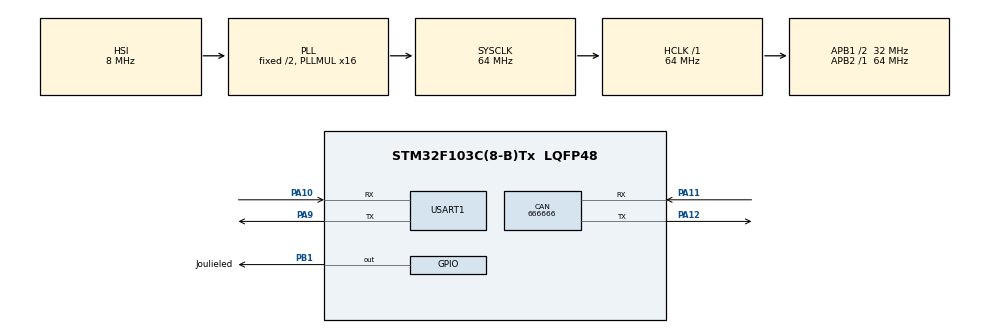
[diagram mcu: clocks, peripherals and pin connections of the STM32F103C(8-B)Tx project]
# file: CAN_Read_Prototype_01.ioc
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CAN.CalculateBaudRate=666666
CAN.CalculateTimeBit=1500
CAN.CalculateTimeQuantum=500.0
Mcu.Family=STM32F1
Mcu.Name=STM32F103C(8-B)Tx
Mcu.Package=LQFP48
NVIC.PriorityGroup=NVIC_PRIORITYGROUP_4
NVIC.USB_LP_CAN1_RX0_IRQn=true\:0\:0\:false\:false\:true\:true\:true\:true
PA10.Mode=Asynchronous
PA10.Signal=USART1_RX
PA11.Mode=CAN_Activate
PA11.Signal=CAN_RX
PA12.Mode=CAN_Activate
PA12.Signal=CAN_TX
PA13.Mode=Trace_Asynchronous_SW
PA13.Signal=SYS_JTMS-SWDIO
PA14.Mode=Trace_Asynchronous_SW
PA14.Signal=SYS_JTCK-SWCLK
PA9.Mode=Asynchronous
PA9.Signal=USART1_TX
PB1.GPIO_Label=Joulieled
PB1.Signal=GPIO_Output
PB3.Mode=Trace_Asynchronous_SW
PB3.Signal=SYS_JTDO-TRACESWO
ProjectManager.HeapSize=0x200
ProjectManager.StackSize=0x400
ProjectManager.TargetToolchain=STM32CubeIDE
RCC.AHBFreq_Value=64000000
RCC.APB1CLKDivider=RCC_HCLK_DIV2
RCC.APB1Freq_Value=32000000
RCC.APB1TimFreq_Value=64000000
RCC.APB2Freq_Value=64000000
RCC.APB2TimFreq_Value=64000000
RCC.HCLKFreq_Value=64000000
RCC.PLLMUL=RCC_PLL_MUL16
RCC.SYSCLKFreq_VALUE=64000000
RCC.SYSCLKSource=RCC_SYSCLKSOURCE_PLLCLK
RCC.USBFreq_Value=64000000
USART1.VirtualMode=VM_ASYNC
board=custom

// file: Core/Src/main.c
/* USER CODE BEGIN Header */
/**
  ******************************************************************************
  * @file           : main.c
  * @brief          : Main program body
  ******************************************************************************
  * @attention
  *
  * Copyright (c) 2022 STMicroelectronics.
  * All rights reserved.
  *
  * This software is licensed under terms that can be found in the LICENSE file
  * in the root directory of this software component.
  * If no LICENSE file comes with this software, it is provided AS-IS.
  *
  ******************************************************************************
  */
/* USER CODE END Header */
#include "main.h"

/* USER CODE BEGIN Includes */
#include <string.h>
#include "conversion_can.h"
/* USER CODE END Includes */

CAN_HandleTypeDef hcan;

UART_HandleTypeDef huart1;

void SystemClock_Config(void);
static void MX_GPIO_Init(void);
static void MX_CAN_Init(void);
static void MX_USART1_UART_Init(void);

/* USER CODE BEGIN 0 */
//recevoir le message CAN en interruption
int cc_test=1;

uint32_t tempus=0;
uint32_t tempus2=0;

tablo_typedef tab[]=
{
		{"Vx",0x0D},
		{"carbu",0x2F},
		{"dist",0x21},
		{"demar_moteur",0x1F},
		{"carbu_typ",0x51},
		{"conso",0x5E},
		{"temper_eau",0x67},
		{"temp_huil",0x5C},
		{"pos_pdle",0x5A},
		{"temper_liq",0x05}
};

CAN_RxHeaderTypeDef Rxheader;
uint8_t RxData[8];
int datacheck;

void HAL_CAN_RxFifo0MsgPendingCallback(CAN_HandleTypeDef *hcan)
{

  //Acquisition + verification
  if( HAL_CAN_GetRxMessage(hcan,CAN_RX_FIFO0, &Rxheader, RxData) != HAL_OK)
  {
	  Error_Handler();
  }

  //Si ID=103
  if (Rxheader.StdId == 0x103)
  {
	  //Levée du flag
	  datacheck = 1;
  }

  //Flag haut
  if( datacheck == 1 )
  {
	  /*
	  tempus2=HAL_GetTick();
	  while(HAL_GetTick()-tempus2<1000)
	  {
		  if( HAL_GetTick()-tempus >39)
		  {
			  HAL_GPIO_WritePin(GPIOB,GPIO_PIN_1,GPIO_PIN_SET);
			  tempus=HAL_GetTick();
		  }
		  HAL_GPIO_WritePin(GPIOB,GPIO_PIN_1,GPIO_PIN_RESET);
	  }
	  //le but ici est de garder la led allumée à un temps inférieur au rafraîchissement humain,
	  //alors on ne percevra pas le clignottement
	*/

	//Allumage LED témoin
	for (int i=0; i<2000; i++) {
		HAL_GPIO_WritePin(GPIOB, GPIO_PIN_1, GPIO_PIN_SET);
	}

	//Reset
	HAL_GPIO_WritePin(GPIOB, GPIO_PIN_1, GPIO_PIN_RESET);
	datacheck=0;

  }

}
/* USER CODE END 0 */

int main(void)
{
  /* USER CODE BEGIN 1 */
	//on vérifie que le can s'active correctement, sinon , retour d'erreur
	if ( HAL_CAN_ActivateNotification(&hcan,CAN_IT_RX_FIFO0_MSG_PENDING) != HAL_OK)
	{
		Error_Handler();
	}
  /* USER CODE END 1 */

  /* MCU Configuration--------------------------------------------------------*/

  /* Reset of all peripherals, Initializes the Flash interface and the Systick. */
  HAL_Init();

  /* Configure the system clock */
  SystemClock_Config();

  /* Initialize all configured peripherals */
  MX_GPIO_Init();
  MX_CAN_Init();
  MX_USART1_UART_Init();

  /* Infinite loop */
  while (1)
  {

  }
}

void SystemClock_Config(void)
{
  RCC_OscInitTypeDef RCC_OscInitStruct = {0};
  RCC_ClkInitTypeDef RCC_ClkInitStruct = {0};

  /** Initializes the RCC Oscillators according to the specified parameters
  * in the RCC_OscInitTypeDef structure.
  */
  RCC_OscInitStruct.OscillatorType = RCC_OSCILLATORTYPE_HSI;
  RCC_OscInitStruct.HSIState = RCC_HSI_ON;
  RCC_OscInitStruct.HSICalibrationValue = RCC_HSICALIBRATION_DEFAULT;
  RCC_OscInitStruct.PLL.PLLState = RCC_PLL_ON;
  RCC_OscInitStruct.PLL.PLLSource = RCC_PLLSOURCE_HSI_DIV2;
  RCC_OscInitStruct.PLL.PLLMUL = RCC_PLL_MUL16;
  if (HAL_RCC_OscConfig(&RCC_OscInitStruct) != HAL_OK)
  {
    Error_Handler();
  }

  /** Initializes the CPU, AHB and APB buses clocks
  */
  RCC_ClkInitStruct.ClockType = RCC_CLOCKTYPE_HCLK|RCC_CLOCKTYPE_SYSCLK
                              |RCC_CLOCKTYPE_PCLK1|RCC_CLOCKTYPE_PCLK2;
  RCC_ClkInitStruct.SYSCLKSource = RCC_SYSCLKSOURCE_PLLCLK;
  RCC_ClkInitStruct.AHBCLKDivider = RCC_SYSCLK_DIV1;
  RCC_ClkInitStruct.APB1CLKDivider = RCC_HCLK_DIV2;
  RCC_ClkInitStruct.APB2CLKDivider = RCC_HCLK_DIV1;

  if (HAL_RCC_ClockConfig(&RCC_ClkInitStruct, FLASH_LATENCY_2) != HAL_OK)
  {
    Error_Handler();
  }
}

static void MX_CAN_Init(void)
{

  hcan.Instance = CAN1;
  hcan.Init.Prescaler = 16;
  hcan.Init.Mode = CAN_MODE_NORMAL;
  hcan.Init.SyncJumpWidth = CAN_SJW_1TQ;
  hcan.Init.TimeSeg1 = CAN_BS1_1TQ;
  hcan.Init.TimeSeg2 = CAN_BS2_1TQ;
  hcan.Init.TimeTriggeredMode = DISABLE;
  hcan.Init.AutoBusOff = DISABLE;
  hcan.Init.AutoWakeUp = DISABLE;
  hcan.Init.AutoRetransmission = DISABLE;
  hcan.Init.ReceiveFifoLocked = DISABLE;
  hcan.Init.TransmitFifoPriority = DISABLE;
  if (HAL_CAN_Init(&hcan) != HAL_OK)
  {
    Error_Handler();
  }

}

static void MX_USART1_UART_Init(void)
{

  huart1.Instance = USART1;
  huart1.Init.BaudRate = 115200;
  huart1.Init.WordLength = UART_WORDLENGTH_8B;
  huart1.Init.StopBits = UART_STOPBITS_1;
  huart1.Init.Parity = UART_PARITY_NONE;
  huart1.Init.Mode = UART_MODE_TX_RX;
  huart1.Init.HwFlowCtl = UART_HWCONTROL_NONE;
  huart1.Init.OverSampling = UART_OVERSAMPLING_16;
  if (HAL_UART_Init(&huart1) != HAL_OK)
  {
    Error_Handler();
  }

}

static void MX_GPIO_Init(void)
{
  GPIO_InitTypeDef GPIO_InitStruct = {0};

  /* GPIO Ports Clock Enable */
  __HAL_RCC_GPIOB_CLK_ENABLE();
  __HAL_RCC_GPIOA_CLK_ENABLE();

  /*Configure GPIO pin Output Level */
  HAL_GPIO_WritePin(Joulieled_GPIO_Port, Joulieled_Pin, GPIO_PIN_RESET);

  /*Configure GPIO pin : Joulieled_Pin */
  GPIO_InitStruct.Pin = Joulieled_Pin;
  GPIO_InitStruct.Mode = GPIO_MODE_OUTPUT_PP;
  GPIO_InitStruct.Pull = GPIO_NOPULL;
  GPIO_InitStruct.Speed = GPIO_SPEED_FREQ_LOW;
  HAL_GPIO_Init(Joulieled_GPIO_Port, &GPIO_InitStruct);

}

void Error_Handler(void)
{
  __disable_irq();
  while (1)
  {
  }
}
